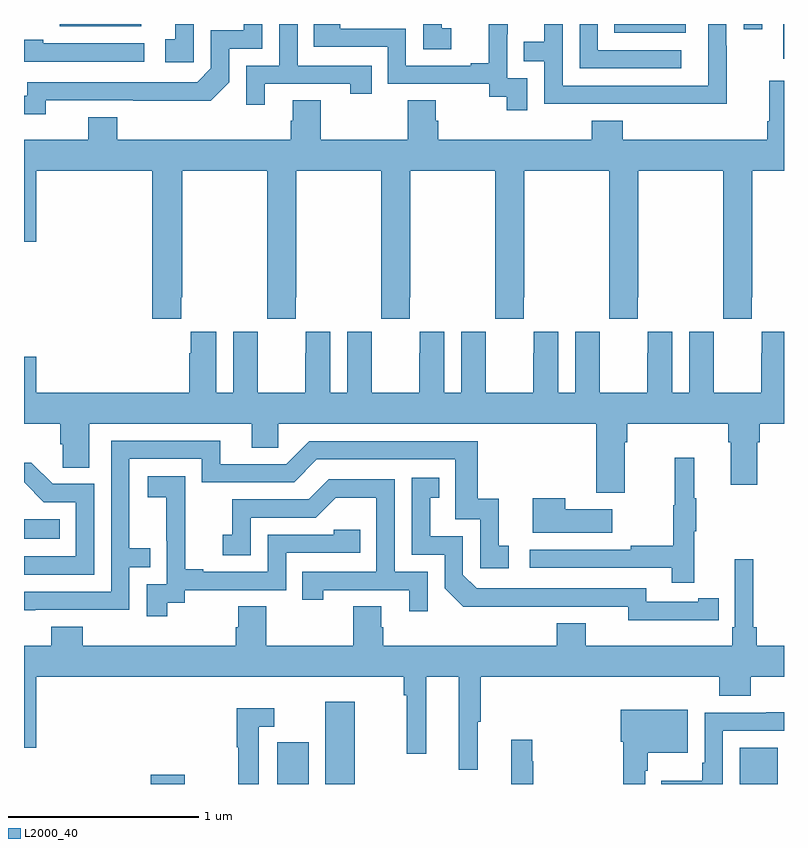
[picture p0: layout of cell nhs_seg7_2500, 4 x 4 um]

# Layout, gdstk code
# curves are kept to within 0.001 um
import gdstk
lib = gdstk.Library(unit=1e-6, precision=1e-09)
def R(c, l, rs):  # rectangles x0, y0, x1, y1
    for r in rs: c.add(gdstk.rectangle(r[:2], r[2:], *l))
def P(c, l, *ps):  # polygons
    for p in ps: c.add(gdstk.Polygon(p, *l))
L2000_40 = (2000, 40)

nhs_seg7_2500 = lib.new_cell('nhs_seg7_2500')
R(nhs_seg7_2500, L2000_40, [(273.668,1052,273.846,1052.05), (274.334,1052,274.498,1052.221), (274.586,1052,274.741,1052.434), (276.767,1052,276.967,1052.191), (273,1053.29,273.188,1053.394), (276.995,1055.817,277,1056), (276.106,1055.954,276.484,1056), (276.789,1055.973,276.885,1056), (273.189,1055.987,273.616,1056)])
P(nhs_seg7_2500, L2000_40, [(273.114,1055.598),(273.982,1055.597),(274.08,1055.694),(274.08,1055.871),(274.254,1055.871),(274.254,1056),(274.157,1056),(274.157,1055.967),(273.984,1055.967),(273.984,1055.766),(273.912,1055.694),(273.018,1055.694),(273.018,1055.622),(273,1055.622),(273,1055.525),(273.114,1055.525)],
  [(274.267,1055.685),(274.718,1055.685),(274.718,1055.634),(274.829,1055.634),(274.829,1055.781),(274.44,1055.781),(274.44,1056),(274.344,1056),(274.344,1055.781),(274.17,1055.781),(274.17,1055.574),(274.267,1055.574)],
  [(275.248,1055.977),(275.199,1055.977),(275.199,1056),(275.1,1056),(275.1,1055.868),(275.248,1055.868)],
  [(273.894,1056),(273.797,1056),(273.797,1055.919),(273.744,1055.919),(273.744,1055.799),(273.894,1055.799)],
  [(276.699,1055.885),(276.696,1055.885),(276.696,1056),(276.6,1056),(276.6,1055.676),(275.835,1055.676),(275.835,1056),(275.739,1056),(275.739,1055.906),(275.629,1055.906),(275.629,1055.805),(275.739,1055.805),(275.739,1055.58),(276.235,1055.58),(276.235,1055.579),(276.699,1055.579)],
  [(275.649,1055.715),(275.544,1055.715),(275.544,1055.945),(275.546,1055.945),(275.546,1056),(275.447,1056),(275.447,1055.794),(275.351,1055.794),(275.351,1055.781),(275.01,1055.781),(275.01,1055.976),(274.665,1055.976),(274.665,1056),(274.525,1056),(274.525,1055.88),(274.914,1055.88),(274.914,1055.685),(275.448,1055.685),(275.448,1055.617),(275.541,1055.617),(275.541,1055.547),(275.649,1055.547)],
  [(276.46,1055.862),(276.021,1055.862),(276.021,1056),(275.925,1056),(275.925,1055.766),(276.46,1055.766)],
  [(273.634,1055.898),(273.101,1055.898),(273.101,1055.918),(273,1055.918),(273,1055.802),(273.634,1055.802)],
  [(277,1055.701),(276.923,1055.701),(276.923,1055.488),(276.911,1055.488),(276.911,1055.392),(276.152,1055.392),(276.152,1055.491),(275.987,1055.491),(275.987,1055.392),(275.18,1055.392),(275.18,1055.49),(275.167,1055.49),(275.167,1055.6),(275.02,1055.6),(275.02,1055.392),(274.563,1055.392),(274.563,1055.6),(274.415,1055.6),(274.415,1055.49),(274.403,1055.49),(274.403,1055.392),(273.491,1055.392),(273.491,1055.509),(273.338,1055.509),(273.338,1055.392),(273,1055.392),(273,1054.854),(273.064,1054.854),(273.064,1055.228),(273.674,1055.228),(273.674,1054.449),(273.827,1054.449),(273.827,1054.561),(273.834,1054.561),(273.834,1055.228),(274.279,1055.228),(274.279,1054.561),(274.281,1054.561),(274.281,1054.449),(274.431,1054.449),(274.431,1054.561),(274.434,1054.561),(274.434,1055.228),(274.879,1055.228),(274.879,1054.561),(274.881,1054.561),(274.881,1054.449),(275.031,1054.449),(275.031,1054.561),(275.034,1054.561),(275.034,1055.228),(275.479,1055.228),(275.479,1054.561),(275.481,1054.561),(275.481,1054.449),(275.631,1054.449),(275.631,1054.561),(275.634,1054.561),(275.634,1055.228),(276.079,1055.228),(276.079,1054.561),(276.081,1054.561),(276.081,1054.449),(276.231,1054.449),(276.231,1054.561),(276.234,1054.561),(276.234,1055.228),(276.679,1055.228),(276.679,1054.561),(276.681,1054.561),(276.681,1054.449),(276.831,1054.449),(276.831,1054.561),(276.834,1054.561),(276.834,1055.228),(277,1055.228)],
  [(274.1,1054.06),(274.012,1054.06),(274.012,1054.381),(273.878,1054.381),(273.878,1054.268),(273.869,1054.268),(273.869,1054.06),(273.064,1054.06),(273.064,1054.249),(273,1054.249),(273,1053.896),(273.191,1053.896),(273.191,1053.787),(273.204,1053.787),(273.204,1053.664),(273.343,1053.664),(273.343,1053.896),(274.199,1053.896),(274.199,1053.769),(274.338,1053.769),(274.338,1053.896),(276.011,1053.896),(276.011,1053.534),(276.163,1053.534),(276.163,1053.8),(276.176,1053.8),(276.176,1053.896),(276.707,1053.896),(276.707,1053.8),(276.719,1053.8),(276.719,1053.576),(276.859,1053.576),(276.859,1053.8),(276.872,1053.8),(276.872,1053.896),(277,1053.896),(277,1054.381),(276.882,1054.381),(276.882,1054.268),(276.881,1054.268),(276.881,1054.06),(276.631,1054.06),(276.631,1054.268),(276.63,1054.268),(276.63,1054.381),(276.5,1054.381),(276.5,1054.06),(276.412,1054.06),(276.412,1054.381),(276.282,1054.381),(276.282,1054.268),(276.281,1054.268),(276.281,1054.06),(276.031,1054.06),(276.031,1054.268),(276.03,1054.268),(276.03,1054.381),(275.9,1054.381),(275.9,1054.06),(275.812,1054.06),(275.812,1054.381),(275.682,1054.381),(275.682,1054.268),(275.681,1054.268),(275.681,1054.06),(275.431,1054.06),(275.431,1054.268),(275.43,1054.268),(275.43,1054.381),(275.3,1054.381),(275.3,1054.06),(275.212,1054.06),(275.212,1054.381),(275.082,1054.381),(275.082,1054.268),(275.081,1054.268),(275.081,1054.06),(274.831,1054.06),(274.831,1054.268),(274.83,1054.268),(274.83,1054.381),(274.7,1054.381),(274.7,1054.06),(274.612,1054.06),(274.612,1054.381),(274.482,1054.381),(274.482,1054.268),(274.481,1054.268),(274.481,1054.06),(274.231,1054.06),(274.231,1054.268),(274.23,1054.268),(274.23,1054.381),(274.1,1054.381)],
  [(273.059,1052.916),(273.555,1052.916),(273.555,1053.141),(273.665,1053.141),(273.665,1053.242),(273.555,1053.242),(273.555,1053.711),(273.936,1053.711),(273.936,1053.588),(274.422,1053.588),(274.542,1053.708),(275.271,1053.708),(275.271,1053.393),(275.4,1053.393),(275.4,1053.135),(275.551,1053.135),(275.551,1053.255),(275.498,1053.255),(275.498,1053.502),(275.387,1053.502),(275.387,1053.804),(274.5,1053.804),(274.38,1053.684),(274.033,1053.684),(274.033,1053.807),(273.459,1053.807),(273.459,1053.012),(273,1053.012),(273,1052.915)],
  [(276.527,1053.331),(276.538,1053.331),(276.538,1053.505),(276.527,1053.505),(276.527,1053.718),(276.424,1053.718),(276.424,1053.468),(276.417,1053.468),(276.417,1053.254),(276.193,1053.254),(276.193,1053.234),(275.661,1053.234),(275.661,1053.138),(276.409,1053.138),(276.409,1053.06),(276.527,1053.06)],
  [(273.369,1053.579),(273.15,1053.579),(273.037,1053.692),(273,1053.692),(273,1053.587),(273.104,1053.483),(273.273,1053.483),(273.273,1053.198),(273,1053.198),(273,1053.102),(273.369,1053.102)],
  [(273.754,1052.953),(273.846,1052.953),(273.846,1053.021),(274.38,1053.021),(274.38,1053.216),(274.769,1053.216),(274.769,1053.339),(274.629,1053.339),(274.629,1053.312),(274.284,1053.312),(274.284,1053.117),(273.943,1053.117),(273.943,1053.13),(273.848,1053.13),(273.848,1053.413),(273.849,1053.413),(273.849,1053.619),(273.651,1053.619),(273.651,1053.509),(273.749,1053.509),(273.749,1053.281),(273.75,1053.281),(273.75,1053.051),(273.645,1053.051),(273.645,1052.883),(273.754,1052.883)],
  [(276.548,1052.862),(276.656,1052.862),(276.656,1052.978),(276.548,1052.978),(276.548,1052.958),(276.276,1052.958),(276.276,1053.03),(275.382,1053.03),(275.31,1053.102),(275.31,1053.303),(275.137,1053.303),(275.137,1053.507),(275.186,1053.507),(275.186,1053.613),(275.04,1053.613),(275.04,1053.207),(275.214,1053.207),(275.214,1053.03),(275.312,1052.933),(276.18,1052.934),(276.18,1052.861)],
  [(275.124,1053.117),(274.95,1053.117),(274.95,1053.603),(274.604,1053.603),(274.499,1053.498),(274.096,1053.498),(274.096,1053.313),(274.047,1053.313),(274.047,1053.204),(274.194,1053.204),(274.194,1053.402),(274.536,1053.402),(274.64,1053.506),(274.854,1053.506),(274.854,1053.117),(274.465,1053.117),(274.465,1052.97),(274.576,1052.97),(274.576,1053.021),(275.027,1053.021),(275.027,1052.91),(275.124,1052.91)],
  [(276.097,1053.445),(275.849,1053.445),(275.849,1053.505),(275.678,1053.505),(275.678,1053.323),(276.097,1053.323)],
  [(274.127,1052.936),(274.127,1052.826),(274.115,1052.826),(274.115,1052.728),(273.308,1052.728),(273.308,1052.827),(273.143,1052.827),(273.143,1052.728),(273,1052.728),(273,1052.19),(273.064,1052.19),(273.064,1052.564),(274.999,1052.564),(274.999,1052.468),(275.014,1052.468),(275.014,1052.16),(275.116,1052.16),(275.116,1052.564),(275.288,1052.564),(275.288,1052.076),(275.387,1052.076),(275.387,1052.328),(275.405,1052.328),(275.405,1052.564),(276.659,1052.564),(276.659,1052.465),(276.824,1052.465),(276.824,1052.564),(277,1052.564),(277,1052.728),(276.857,1052.728),(276.857,1052.824),(276.838,1052.824),(276.838,1053.184),(276.741,1053.184),(276.741,1052.824),(276.728,1052.824),(276.728,1052.728),(275.956,1052.728),(275.956,1052.845),(275.804,1052.845),(275.804,1052.728),(274.892,1052.728),(274.892,1052.826),(274.879,1052.826),(274.879,1052.936),(274.732,1052.936),(274.732,1052.728),(274.275,1052.728),(274.275,1052.936)],
  [(274.236,1052.301),(274.318,1052.301),(274.318,1052.398),(274.12,1052.398),(274.12,1052.194),(274.128,1052.194),(274.128,1052),(274.236,1052)],
  [(276.27,1052.069),(276.283,1052.069),(276.283,1052.165),(276.493,1052.165),(276.493,1052.392),(276.14,1052.392),(276.14,1052.222),(276.154,1052.222),(276.154,1052),(276.27,1052)],
  [(276.678,1052.28),(277,1052.28),(277,1052.378),(276.907,1052.378),(276.907,1052.376),(276.582,1052.376),(276.582,1052.113),(276.57,1052.113),(276.57,1052.017),(276.355,1052.017),(276.355,1052),(276.678,1052)],
  [(275.681,1052.12),(275.674,1052.12),(275.674,1052.233),(275.564,1052.233),(275.564,1052),(275.681,1052)])

lib.write_gds('nhs_seg7_2500.gds')
